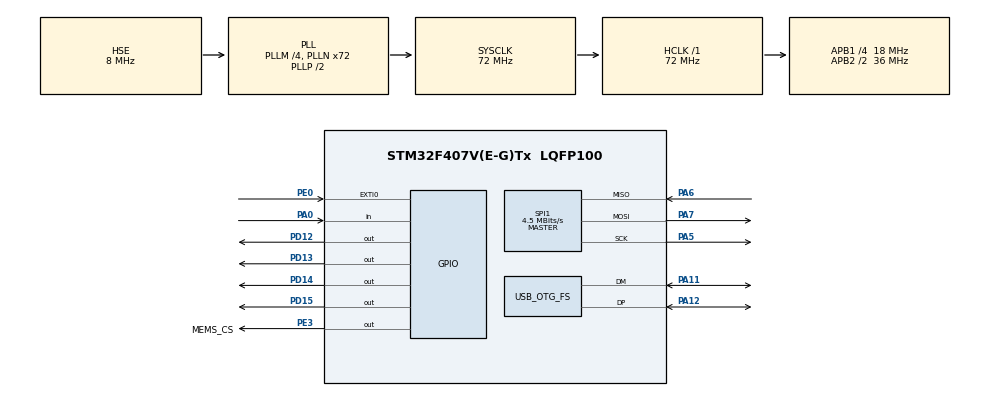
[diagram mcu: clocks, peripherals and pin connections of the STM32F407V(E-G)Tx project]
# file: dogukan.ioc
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Mcu.Family=STM32F4
Mcu.Name=STM32F407V(E-G)Tx
Mcu.Package=LQFP100
NVIC.EXTI0_IRQn=true\:0\:0\:false\:false\:true\:true\:true\:true
NVIC.OTG_FS_IRQn=true\:0\:0\:false\:false\:true\:false\:true\:true
NVIC.PriorityGroup=NVIC_PRIORITYGROUP_0
NVIC.TIM7_IRQn=true\:0\:0\:false\:false\:true\:true\:true\:true
PA0-WKUP.Signal=GPIO_Input
PA11.Mode=Device_Only
PA11.Signal=USB_OTG_FS_DM
PA12.Mode=Device_Only
PA12.Signal=USB_OTG_FS_DP
PA5.Mode=Full_Duplex_Master
PA5.Signal=SPI1_SCK
PA6.Mode=Full_Duplex_Master
PA6.Signal=SPI1_MISO
PA7.Mode=Full_Duplex_Master
PA7.Signal=SPI1_MOSI
PD12.Signal=GPIO_Output
PD13.Signal=GPIO_Output
PD14.Signal=GPIO_Output
PD15.Signal=GPIO_Output
PE0.Signal=GPXTI0
PE3.GPIO_Label=MEMS_CS
PE3.Signal=GPIO_Output
PH0-OSC_IN.Mode=HSE-External-Oscillator
PH0-OSC_IN.Signal=RCC_OSC_IN
PH1-OSC_OUT.Mode=HSE-External-Oscillator
PH1-OSC_OUT.Signal=RCC_OSC_OUT
ProjectManager.HeapSize=0x200
ProjectManager.StackSize=0x400
ProjectManager.TargetToolchain=STM32CubeIDE
RCC.48MHZClocksFreq_Value=48000000
RCC.AHBFreq_Value=72000000
RCC.APB1CLKDivider=RCC_HCLK_DIV4
RCC.APB1Freq_Value=18000000
RCC.APB1TimFreq_Value=36000000
RCC.APB2CLKDivider=RCC_HCLK_DIV2
RCC.APB2Freq_Value=36000000
RCC.APB2TimFreq_Value=72000000
RCC.CortexFreq_Value=72000000
RCC.HCLKFreq_Value=72000000
RCC.HSE_VALUE=8000000
RCC.HSI_VALUE=16000000
RCC.LSE_VALUE=32768
RCC.PLLM=4
RCC.PLLN=72
RCC.PLLQ=3
RCC.SYSCLKFreq_VALUE=72000000
RCC.SYSCLKSource=RCC_SYSCLKSOURCE_PLLCLK
RCC.VCOOutputFreq_Value=144000000
SPI1.BaudRatePrescaler=SPI_BAUDRATEPRESCALER_8
SPI1.CalculateBaudRate=4.5 MBits/s
SPI1.DataSize=SPI_DATASIZE_8BIT
SPI1.Direction=SPI_DIRECTION_2LINES
SPI1.Mode=SPI_MODE_MASTER
SPI1.VirtualType=VM_MASTER
TIM7.Period=5000
TIM7.Prescaler=20000
USB_DEVICE.CLASS_NAME_FS=CDC
USB_DEVICE.VirtualMode-CDC_FS=Cdc
USB_DEVICE.VirtualModeFS=Cdc_FS
USB_OTG_FS.VirtualMode=Device_Only
VP_TIM7_VS_ClockSourceINT.Mode=Enable_Timer
VP_USB_DEVICE_VS_USB_DEVICE_CDC_FS.Mode=CDC_FS
board=STM32F407G-DISC1

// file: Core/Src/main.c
/* USER CODE BEGIN Header */
/**
  ******************************************************************************
  * @file           : main.c
  * @brief          : Main program body
  ******************************************************************************
  * @attention
  *
  * Copyright (c) 2022 STMicroelectronics.
  * All rights reserved.
  *
  * This software is licensed under terms that can be found in the LICENSE file
  * in the root directory of this software component.
  * If no LICENSE file comes with this software, it is provided AS-IS.
  *
  ******************************************************************************
  */
/* USER CODE END Header */
#include "main.h"
#include "usb_device.h"

/* USER CODE BEGIN Includes */
#include "MY_LIS3DSH.h"

/* USER CODE END Includes */

SPI_HandleTypeDef hspi1;

TIM_HandleTypeDef htim7;

/* USER CODE BEGIN PV */
/* Private variables ---------------------------------------------------------*/
LIS3DSH_DataScaled mydata;
char formula1[41];
char mercedes[177];
/* USER CODE END PV */

void SystemClock_Config(void);
static void MX_GPIO_Init(void);
static void MX_SPI1_Init(void);
static void MX_TIM7_Init(void);
/* USER CODE BEGIN PFP */
/* Private function prototypes -----------------------------------------------*/

/* USER CODE END PFP */

/* USER CODE BEGIN 0 */

uint8_t drdyFlag=0;
/* USER CODE END 0 */

int main(void)
{
  /* USER CODE BEGIN 1 */
	LIS3DSH_InitTypeDef myAccConfigDef;
  /* USER CODE END 1 */

  /* MCU Configuration--------------------------------------------------------*/

  /* Reset of all peripherals, Initializes the Flash interface and the Systick. */
  HAL_Init();

  /* USER CODE BEGIN Init */
  //HAL_TIM_Base_Start_IT(&htim7);//first IT

  /* USER CODE END Init */

  /* Configure the system clock */
  SystemClock_Config();

  /* Initialize all configured peripherals */
  MX_GPIO_Init();
  MX_SPI1_Init();
  MX_USB_DEVICE_Init();
  MX_TIM7_Init();
  /* USER CODE BEGIN 2 */
    HAL_TIM_Base_Start_IT(&htim7);
	myAccConfigDef.dataRate = LIS3DSH_DATARATE_25;
	myAccConfigDef.fullScale = LIS3DSH_FULLSCALE_4;
	myAccConfigDef.antiAliasingBW = LIS3DSH_FILTER_BW_50;
	myAccConfigDef.enableAxes = LIS3DSH_XYZ_ENABLE;
	myAccConfigDef.interruptEnable = true;
	LIS3DSH_Init(&hspi1, &myAccConfigDef);

	LIS3DSH_X_calibrate(-1000.0, 980.0);
	LIS3DSH_Y_calibrate(-1020.0, 1040.0);
	LIS3DSH_Z_calibrate(-920.0, 1040.0);
	CDC_Transmit_FS((uint8_t*) "\0", (uint16_t) strlen("\0"));

  /* USER CODE END 2 */

  /* Infinite loop */
  while (1)
  {

    /* USER CODE BEGIN 3 */
	  if(drdyFlag == 1)
	  {
	  		drdyFlag = 0;
	  		mydata = LIS3DSH_GetDataScaled();
	  		HAL_GPIO_TogglePin(GPIOD, GPIO_PIN_12);
			memset(mercedes,'\0',sizeof(mercedes));
	        snprintf(formula1, sizeof(formula1), "%f,", mydata.x);
	        strcat(mercedes, formula1);
	        memset(formula1,'\0',sizeof(formula1));
	        snprintf(formula1, sizeof(formula1), "%f,", mydata.y);
	        strcat(mercedes, formula1);
	        memset(formula1,'\0',sizeof(formula1));
	        snprintf(formula1, sizeof(formula1),"%f\n,",mydata.z);
	        strcat(mercedes, formula1);
	        memset(formula1,'\0',sizeof(formula1));
	    	CDC_Transmit_FS((uint8_t*) mercedes, (uint16_t) strlen(mercedes));
	  }
  }
  /* USER CODE END 3 */
}

void SystemClock_Config(void)
{
  RCC_OscInitTypeDef RCC_OscInitStruct = {0};
  RCC_ClkInitTypeDef RCC_ClkInitStruct = {0};

  /** Configure the main internal regulator output voltage
  */
  __HAL_RCC_PWR_CLK_ENABLE();
  __HAL_PWR_VOLTAGESCALING_CONFIG(PWR_REGULATOR_VOLTAGE_SCALE1);

  /** Initializes the RCC Oscillators according to the specified parameters
  * in the RCC_OscInitTypeDef structure.
  */
  RCC_OscInitStruct.OscillatorType = RCC_OSCILLATORTYPE_HSE;
  RCC_OscInitStruct.HSEState = RCC_HSE_ON;
  RCC_OscInitStruct.PLL.PLLState = RCC_PLL_ON;
  RCC_OscInitStruct.PLL.PLLSource = RCC_PLLSOURCE_HSE;
  RCC_OscInitStruct.PLL.PLLM = 4;
  RCC_OscInitStruct.PLL.PLLN = 72;
  RCC_OscInitStruct.PLL.PLLP = RCC_PLLP_DIV2;
  RCC_OscInitStruct.PLL.PLLQ = 3;
  if (HAL_RCC_OscConfig(&RCC_OscInitStruct) != HAL_OK)
  {
    Error_Handler();
  }

  /** Initializes the CPU, AHB and APB buses clocks
  */
  RCC_ClkInitStruct.ClockType = RCC_CLOCKTYPE_HCLK|RCC_CLOCKTYPE_SYSCLK
                              |RCC_CLOCKTYPE_PCLK1|RCC_CLOCKTYPE_PCLK2;
  RCC_ClkInitStruct.SYSCLKSource = RCC_SYSCLKSOURCE_PLLCLK;
  RCC_ClkInitStruct.AHBCLKDivider = RCC_SYSCLK_DIV1;
  RCC_ClkInitStruct.APB1CLKDivider = RCC_HCLK_DIV4;
  RCC_ClkInitStruct.APB2CLKDivider = RCC_HCLK_DIV2;

  if (HAL_RCC_ClockConfig(&RCC_ClkInitStruct, FLASH_LATENCY_2) != HAL_OK)
  {
    Error_Handler();
  }
}

static void MX_SPI1_Init(void)
{

  /* SPI1 parameter configuration*/
  hspi1.Instance = SPI1;
  hspi1.Init.Mode = SPI_MODE_MASTER;
  hspi1.Init.Direction = SPI_DIRECTION_2LINES;
  hspi1.Init.DataSize = SPI_DATASIZE_8BIT;
  hspi1.Init.CLKPolarity = SPI_POLARITY_LOW;
  hspi1.Init.CLKPhase = SPI_PHASE_1EDGE;
  hspi1.Init.NSS = SPI_NSS_SOFT;
  hspi1.Init.BaudRatePrescaler = SPI_BAUDRATEPRESCALER_8;
  hspi1.Init.FirstBit = SPI_FIRSTBIT_MSB;
  hspi1.Init.TIMode = SPI_TIMODE_DISABLE;
  hspi1.Init.CRCCalculation = SPI_CRCCALCULATION_DISABLE;
  hspi1.Init.CRCPolynomial = 10;
  if (HAL_SPI_Init(&hspi1) != HAL_OK)
  {
    Error_Handler();
  }

}

static void MX_TIM7_Init(void)
{

  TIM_MasterConfigTypeDef sMasterConfig = {0};

  htim7.Instance = TIM7;
  htim7.Init.Prescaler = 20000;
  htim7.Init.CounterMode = TIM_COUNTERMODE_UP;
  htim7.Init.Period = 5000;
  htim7.Init.AutoReloadPreload = TIM_AUTORELOAD_PRELOAD_DISABLE;
  if (HAL_TIM_Base_Init(&htim7) != HAL_OK)
  {
    Error_Handler();
  }
  sMasterConfig.MasterOutputTrigger = TIM_TRGO_RESET;
  sMasterConfig.MasterSlaveMode = TIM_MASTERSLAVEMODE_DISABLE;
  if (HAL_TIMEx_MasterConfigSynchronization(&htim7, &sMasterConfig) != HAL_OK)
  {
    Error_Handler();
  }

}

static void MX_GPIO_Init(void)
{
  GPIO_InitTypeDef GPIO_InitStruct = {0};

  /* GPIO Ports Clock Enable */
  __HAL_RCC_GPIOE_CLK_ENABLE();
  __HAL_RCC_GPIOH_CLK_ENABLE();
  __HAL_RCC_GPIOA_CLK_ENABLE();
  __HAL_RCC_GPIOD_CLK_ENABLE();

  /*Configure GPIO pin Output Level */
  HAL_GPIO_WritePin(MEMS_CS_GPIO_Port, MEMS_CS_Pin, GPIO_PIN_RESET);

  /*Configure GPIO pin Output Level */
  HAL_GPIO_WritePin(GPIOD, GPIO_PIN_12|GPIO_PIN_13|GPIO_PIN_14|GPIO_PIN_15, GPIO_PIN_RESET);

  /*Configure GPIO pin : MEMS_CS_Pin */
  GPIO_InitStruct.Pin = MEMS_CS_Pin;
  GPIO_InitStruct.Mode = GPIO_MODE_OUTPUT_PP;
  GPIO_InitStruct.Pull = GPIO_NOPULL;
  GPIO_InitStruct.Speed = GPIO_SPEED_FREQ_LOW;
  HAL_GPIO_Init(MEMS_CS_GPIO_Port, &GPIO_InitStruct);

  /*Configure GPIO pin : PA0 */
  GPIO_InitStruct.Pin = GPIO_PIN_0;
  GPIO_InitStruct.Mode = GPIO_MODE_INPUT;
  GPIO_InitStruct.Pull = GPIO_NOPULL;
  HAL_GPIO_Init(GPIOA, &GPIO_InitStruct);

  /*Configure GPIO pins : PD12 PD13 PD14 PD15 */
  GPIO_InitStruct.Pin = GPIO_PIN_12|GPIO_PIN_13|GPIO_PIN_14|GPIO_PIN_15;
  GPIO_InitStruct.Mode = GPIO_MODE_OUTPUT_PP;
  GPIO_InitStruct.Pull = GPIO_NOPULL;
  GPIO_InitStruct.Speed = GPIO_SPEED_FREQ_LOW;
  HAL_GPIO_Init(GPIOD, &GPIO_InitStruct);

  /*Configure GPIO pin : PE0 */
  GPIO_InitStruct.Pin = GPIO_PIN_0;
  GPIO_InitStruct.Mode = GPIO_MODE_IT_RISING;
  GPIO_InitStruct.Pull = GPIO_NOPULL;
  HAL_GPIO_Init(GPIOE, &GPIO_InitStruct);

  /* EXTI interrupt init*/
  HAL_NVIC_SetPriority(EXTI0_IRQn, 0, 0);
  HAL_NVIC_EnableIRQ(EXTI0_IRQn);

}

/* USER CODE BEGIN 4 */
void HAL_GPIO_EXTI_Callback(uint16_t GPIO_Pin)
{
  /* Prevent unused argument(s) compilation warning */
  UNUSED(GPIO_Pin);
  /* NOTE: This function Should not be modified, when the callback is needed,
           the HAL_GPIO_EXTI_Callback could be implemented in the user file
   */
		drdyFlag = 1;
		HAL_GPIO_TogglePin(GPIOD, GPIO_PIN_13);

}
void HAL_TIM_PeriodElapsedCallback(TIM_HandleTypeDef *htim)
{
}
/* USER CODE END 4 */

void Error_Handler(void)
{
  while(1)
  {
  }
}
